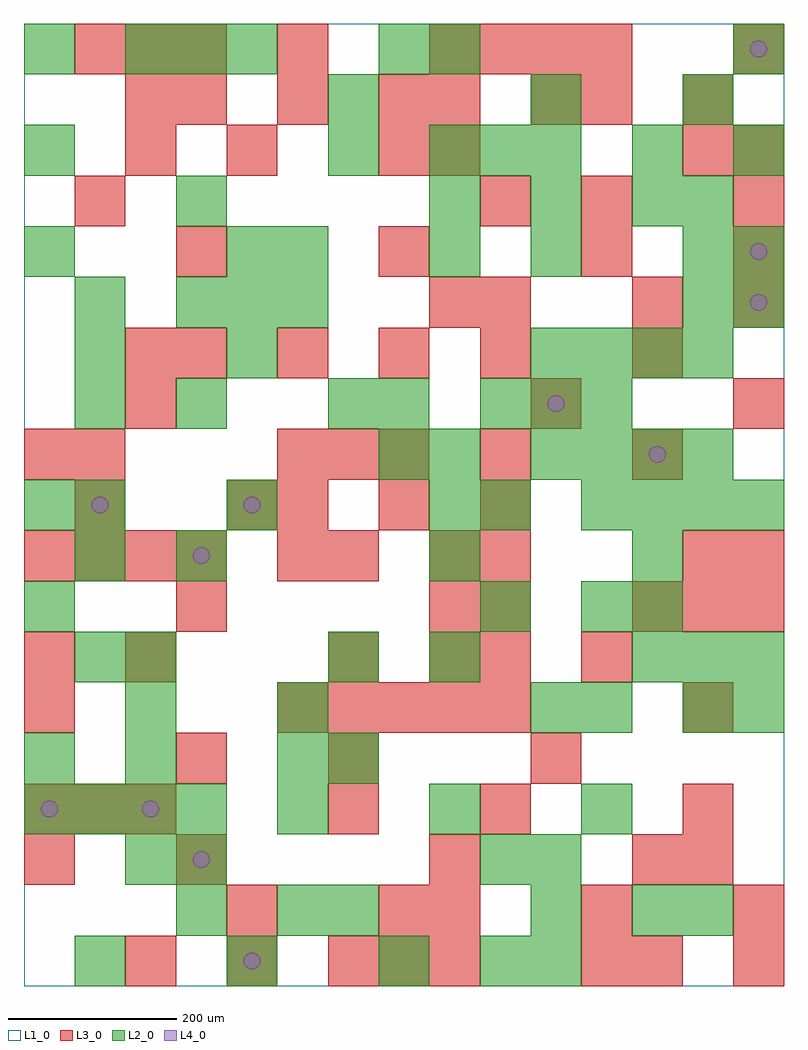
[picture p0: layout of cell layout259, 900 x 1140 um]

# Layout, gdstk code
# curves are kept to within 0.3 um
import gdstk
lib = gdstk.Library(unit=1e-6, precision=1e-09)
def R(c, l, rs):  # rectangles x0, y0, x1, y1
    for r in rs: c.add(gdstk.rectangle(r[:2], r[2:], *l))
def A(c, l, x, y, w, h, nx, ny, dx, dy):  # array of equal rectangles
    R(c, l, [(x+i*dx, y+j*dy, x+i*dx+w, y+j*dy+h) for i in range(nx) for j in range(ny)])
def P(c, l, *ps):  # polygons
    for p in ps: c.add(gdstk.Polygon(p, *l))
L1_0 = (1, 0)
L2_0 = (2, 0)
L3_0 = (3, 0)
L4_0 = (4, 0)

layout259 = lib.new_cell('layout259')
R(layout259, L1_0, [(0,0,900,1140)])
A(layout259, L2_0, 60, 0, 60, 60, 3, 1, 180, 0)
A(layout259, L2_0, 600, 0, 60, 60, 1, 3, 0, 60)
A(layout259, L2_0, 0, 180, 60, 60, 4, 1, 60, 0)
A(layout259, L2_0, 300, 180, 60, 60, 3, 1, 180, 0)
A(layout259, L2_0, 120, 240, 60, 60, 1, 3, 0, 60)
A(layout259, L2_0, 360, 360, 60, 60, 1, 3, 0, 300)
A(layout259, L2_0, 720, 360, 60, 60, 3, 1, 60, 0)
A(layout259, L2_0, 480, 480, 60, 60, 1, 3, 0, 60)
A(layout259, L2_0, 660, 540, 60, 60, 4, 1, 60, 0)
A(layout259, L2_0, 600, 600, 60, 60, 4, 2, 60, 120)
A(layout259, L2_0, 60, 660, 60, 60, 1, 3, 0, 60)
A(layout259, L2_0, 540, 660, 60, 60, 3, 1, 60, 0)
A(layout259, L2_0, 180, 780, 60, 60, 3, 1, 60, 0)
A(layout259, L2_0, 780, 780, 60, 60, 1, 3, 0, 60)
A(layout259, L2_0, 0, 840, 60, 60, 1, 3, 0, 120)
A(layout259, L2_0, 840, 840, 60, 60, 1, 3, 0, 120)
A(layout259, L2_0, 480, 900, 60, 60, 3, 1, 120, 0)
A(layout259, L2_0, 480, 960, 60, 60, 3, 1, 60, 0)
A(layout259, L2_0, 120, 1080, 60, 60, 3, 1, 60, 0)
R(layout259, L2_0, [(540,0,600,60), (180,60,240,120), (300,60,360,120), (360,60,420,120), (720,60,780,120), (780,60,840,120), (120,120,180,180), (180,120,240,180), (540,120,600,180), (0,240,60,300), (300,240,360,300), (360,240,420,300), (300,300,360,360), (600,300,660,360), (660,300,720,360), (780,300,840,360), (840,300,900,360), (60,360,120,420), (480,360,540,420), (0,420,60,480), (540,420,600,480), (660,420,720,480), (720,420,780,480), (60,480,120,540), (180,480,240,540), (720,480,780,540), (0,540,60,600), (60,540,120,600), (240,540,300,600), (540,540,600,600), (420,600,480,660), (180,660,240,720), (420,660,480,720), (240,720,300,780), (840,780,900,840), (240,840,300,900), (300,840,360,900), (480,840,540,900), (600,840,660,900), (180,900,240,960), (720,960,780,1020), (360,1020,420,1080), (600,1020,660,1080), (780,1020,840,1080), (420,1080,480,1140), (480,1080,540,1140)])
A(layout259, L3_0, 120, 0, 60, 60, 3, 1, 120, 0)
A(layout259, L3_0, 480, 60, 60, 60, 3, 1, 180, 0)
A(layout259, L3_0, 0, 180, 60, 60, 3, 1, 60, 0)
A(layout259, L3_0, 360, 240, 60, 60, 1, 3, 0, 120)
A(layout259, L3_0, 300, 300, 60, 60, 5, 1, 60, 0)
A(layout259, L3_0, 480, 360, 60, 60, 1, 3, 0, 60)
A(layout259, L3_0, 540, 360, 60, 60, 1, 3, 0, 60)
A(layout259, L3_0, 720, 420, 60, 60, 3, 1, 60, 0)
A(layout259, L3_0, 0, 480, 60, 60, 4, 1, 60, 0)
A(layout259, L3_0, 300, 540, 60, 60, 3, 1, 120, 0)
A(layout259, L3_0, 300, 600, 60, 60, 3, 1, 60, 0)
A(layout259, L3_0, 180, 720, 60, 60, 4, 1, 120, 0)
A(layout259, L3_0, 840, 780, 60, 60, 1, 4, 0, 60)
A(layout259, L3_0, 180, 840, 60, 60, 3, 1, 240, 0)
A(layout259, L3_0, 180, 1020, 60, 60, 3, 1, 120, 0)
A(layout259, L3_0, 60, 1080, 60, 60, 3, 1, 60, 0)
A(layout259, L3_0, 480, 1080, 60, 60, 4, 1, 60, 0)
R(layout259, L3_0, [(420,0,480,60), (480,0,540,60), (660,0,720,60), (720,0,780,60), (840,0,900,60), (240,60,300,120), (420,60,480,120), (0,120,60,180), (180,120,240,180), (480,120,540,180), (720,120,780,180), (780,120,840,180), (360,180,420,240), (540,180,600,240), (780,180,840,240), (180,240,240,300), (600,240,660,300), (0,300,60,360), (780,300,840,360), (0,360,60,420), (120,360,180,420), (660,360,720,420), (180,420,240,480), (300,480,360,540), (780,480,840,540), (840,480,900,540), (60,540,120,600), (240,540,300,600), (0,600,60,660), (60,600,120,660), (540,600,600,660), (720,600,780,660), (120,660,180,720), (600,660,660,720), (840,660,900,720), (120,720,180,780), (720,720,780,780), (480,780,540,840), (540,780,600,840), (720,780,780,840), (60,900,120,960), (540,900,600,960), (660,900,720,960), (120,960,180,1020), (240,960,300,1020), (420,960,480,1020), (480,960,540,1020), (780,960,840,1020), (120,1020,180,1080), (480,1020,540,1080), (600,1020,660,1080), (660,1020,720,1080), (780,1020,840,1080), (300,1080,360,1140), (840,1080,900,1140)])
P(layout259, L4_0, [(40,210),(39.239,213.827),(37.071,217.071),(33.827,219.239),(30,220),(26.173,219.239),(22.929,217.071),(20.761,213.827),(20,210),(20.761,206.173),(22.929,202.929),(26.173,200.761),(30,200),(33.827,200.761),(37.071,202.929),(39.239,206.173)],
  [(100,570),(99.239,573.827),(97.071,577.071),(93.827,579.239),(90,580),(86.173,579.239),(82.929,577.071),(80.761,573.827),(80,570),(80.761,566.173),(82.929,562.929),(86.173,560.761),(90,560),(93.827,560.761),(97.071,562.929),(99.239,566.173)],
  [(160,210),(159.239,213.827),(157.071,217.071),(153.827,219.239),(150,220),(146.173,219.239),(142.929,217.071),(140.761,213.827),(140,210),(140.761,206.173),(142.929,202.929),(146.173,200.761),(150,200),(153.827,200.761),(157.071,202.929),(159.239,206.173)],
  [(220,150),(219.239,153.827),(217.071,157.071),(213.827,159.239),(210,160),(206.173,159.239),(202.929,157.071),(200.761,153.827),(200,150),(200.761,146.173),(202.929,142.929),(206.173,140.761),(210,140),(213.827,140.761),(217.071,142.929),(219.239,146.173)],
  [(220,510),(219.239,513.827),(217.071,517.071),(213.827,519.239),(210,520),(206.173,519.239),(202.929,517.071),(200.761,513.827),(200,510),(200.761,506.173),(202.929,502.929),(206.173,500.761),(210,500),(213.827,500.761),(217.071,502.929),(219.239,506.173)],
  [(280,30),(279.239,33.827),(277.071,37.071),(273.827,39.239),(270,40),(266.173,39.239),(262.929,37.071),(260.761,33.827),(260,30),(260.761,26.173),(262.929,22.929),(266.173,20.761),(270,20),(273.827,20.761),(277.071,22.929),(279.239,26.173)],
  [(280,570),(279.239,573.827),(277.071,577.071),(273.827,579.239),(270,580),(266.173,579.239),(262.929,577.071),(260.761,573.827),(260,570),(260.761,566.173),(262.929,562.929),(266.173,560.761),(270,560),(273.827,560.761),(277.071,562.929),(279.239,566.173)],
  [(640,690),(639.239,693.827),(637.071,697.071),(633.827,699.239),(630,700),(626.173,699.239),(622.929,697.071),(620.761,693.827),(620,690),(620.761,686.173),(622.929,682.929),(626.173,680.761),(630,680),(633.827,680.761),(637.071,682.929),(639.239,686.173)],
  [(760,630),(759.239,633.827),(757.071,637.071),(753.827,639.239),(750,640),(746.173,639.239),(742.929,637.071),(740.761,633.827),(740,630),(740.761,626.173),(742.929,622.929),(746.173,620.761),(750,620),(753.827,620.761),(757.071,622.929),(759.239,626.173)],
  [(880,810),(879.239,813.827),(877.071,817.071),(873.827,819.239),(870,820),(866.173,819.239),(862.929,817.071),(860.761,813.827),(860,810),(860.761,806.173),(862.929,802.929),(866.173,800.761),(870,800),(873.827,800.761),(877.071,802.929),(879.239,806.173)],
  [(880,870),(879.239,873.827),(877.071,877.071),(873.827,879.239),(870,880),(866.173,879.239),(862.929,877.071),(860.761,873.827),(860,870),(860.761,866.173),(862.929,862.929),(866.173,860.761),(870,860),(873.827,860.761),(877.071,862.929),(879.239,866.173)],
  [(880,1110),(879.239,1113.827),(877.071,1117.071),(873.827,1119.239),(870,1120),(866.173,1119.239),(862.929,1117.071),(860.761,1113.827),(860,1110),(860.761,1106.173),(862.929,1102.929),(866.173,1100.761),(870,1100),(873.827,1100.761),(877.071,1102.929),(879.239,1106.173)])

lib.write_gds('layout259.gds')
